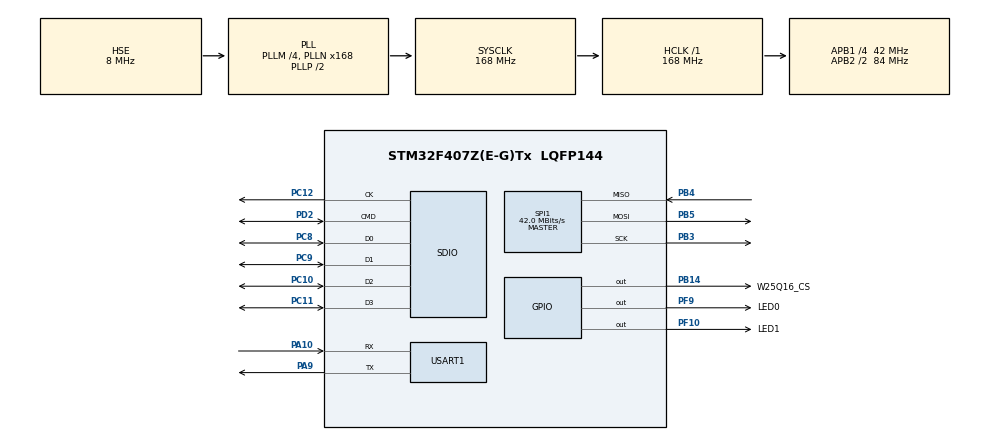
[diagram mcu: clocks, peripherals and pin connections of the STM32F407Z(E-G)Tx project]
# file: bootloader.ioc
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FATFS._CODE_PAGE=850
FATFS._FS_MINIMIZE=0
FATFS._FS_TINY=1
FATFS._MAX_SS=4096
FATFS._MULTI_PARTITION=1
FATFS._USE_FASTSEEK=0
FATFS._USE_LABEL=0
FATFS._USE_LFN=0
FATFS._USE_MKFS=0
FATFS._USE_STRFUNC=0
FATFS._USE_TRIM=0
Mcu.Family=STM32F4
Mcu.Name=STM32F407Z(E-G)Tx
Mcu.Package=LQFP144
NVIC.PriorityGroup=NVIC_PRIORITYGROUP_4
PA10.Mode=Asynchronous
PA10.Signal=USART1_RX
PA9.Mode=Asynchronous
PA9.Signal=USART1_TX
PB14.GPIO_Label=W25Q16_CS
PB14.GPIO_PuPd=GPIO_PULLUP
PB14.GPIO_Speed=GPIO_SPEED_FREQ_VERY_HIGH
PB14.PinState=GPIO_PIN_SET
PB14.Signal=GPIO_Output
PB3.Mode=Full_Duplex_Master
PB3.Signal=SPI1_SCK
PB4.Mode=Full_Duplex_Master
PB4.Signal=SPI1_MISO
PB5.Mode=Full_Duplex_Master
PB5.Signal=SPI1_MOSI
PC10.Mode=SD_4_bits_Wide_bus
PC10.Signal=SDIO_D2
PC11.Mode=SD_4_bits_Wide_bus
PC11.Signal=SDIO_D3
PC12.Mode=SD_4_bits_Wide_bus
PC12.Signal=SDIO_CK
PC8.Mode=SD_4_bits_Wide_bus
PC8.Signal=SDIO_D0
PC9.Mode=SD_4_bits_Wide_bus
PC9.Signal=SDIO_D1
PD2.Mode=SD_4_bits_Wide_bus
PD2.Signal=SDIO_CMD
PF10.GPIO_Label=LED1
PF10.GPIO_PuPd=GPIO_PULLUP
PF10.GPIO_Speed=GPIO_SPEED_FREQ_HIGH
PF10.PinState=GPIO_PIN_SET
PF10.Signal=GPIO_Output
PF9.GPIO_Label=LED0
PF9.GPIO_PuPd=GPIO_PULLUP
PF9.GPIO_Speed=GPIO_SPEED_FREQ_HIGH
PF9.PinState=GPIO_PIN_SET
PF9.Signal=GPIO_Output
PH0-OSC_IN.Mode=HSE-External-Oscillator
PH0-OSC_IN.Signal=RCC_OSC_IN
PH1-OSC_OUT.Mode=HSE-External-Oscillator
PH1-OSC_OUT.Signal=RCC_OSC_OUT
ProjectManager.HeapSize=0x200
ProjectManager.StackSize=0x1000
ProjectManager.TargetToolchain=MDK-ARM V5
RCC.48MHZClocksFreq_Value=48000000
RCC.AHBFreq_Value=168000000
RCC.APB1CLKDivider=RCC_HCLK_DIV4
RCC.APB1Freq_Value=42000000
RCC.APB1TimFreq_Value=84000000
RCC.APB2CLKDivider=RCC_HCLK_DIV2
RCC.APB2Freq_Value=84000000
RCC.APB2TimFreq_Value=168000000
RCC.CortexFreq_Value=168000000
RCC.HCLKFreq_Value=168000000
RCC.HSE_VALUE=8000000
RCC.HSI_VALUE=16000000
RCC.LSE_VALUE=32768
RCC.PLLM=4
RCC.PLLN=168
RCC.PLLQ=7
RCC.PLLSourceVirtual=RCC_PLLSOURCE_HSE
RCC.SYSCLKFreq_VALUE=168000000
RCC.SYSCLKSource=RCC_SYSCLKSOURCE_PLLCLK
RCC.VCOOutputFreq_Value=336000000
SPI1.CLKPhase=SPI_PHASE_2EDGE
SPI1.CLKPolarity=SPI_POLARITY_HIGH
SPI1.CalculateBaudRate=42.0 MBits/s
SPI1.Direction=SPI_DIRECTION_2LINES
SPI1.Mode=SPI_MODE_MASTER
SPI1.VirtualType=VM_MASTER
USART1.VirtualMode=VM_ASYNC
VP_FATFS_VS_Generic.Mode=User_defined
VP_FATFS_VS_SDIO.Mode=SDIO
board=custom

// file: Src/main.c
/**
  ******************************************************************************
  * @file           : main.c
  * @brief          : Main program body
  ******************************************************************************
  * This notice applies to any and all portions of this file
  * that are not between comment pairs USER CODE BEGIN and
  * USER CODE END. Other portions of this file, whether
  * inserted by the user or by software development tools
  * are owned by their respective copyright owners.
  *
  * Copyright (c) 2019 STMicroelectronics International N.V.
  * All rights reserved.
  *
  * Redistribution and use in source and binary forms, with or without
  * modification, are permitted, provided that the following conditions are met:
  *
  * 1. Redistribution of source code must retain the above copyright notice,
  *    this list of conditions and the following disclaimer.
  * 2. Redistributions in binary form must reproduce the above copyright notice,
  *    this list of conditions and the following disclaimer in the documentation
  *    and/or other materials provided with the distribution.
  * 3. Neither the name of STMicroelectronics nor the names of other
  *    contributors to this software may be used to endorse or promote products
  *    derived from this software without specific written permission.
  * 4. This software, including modifications and/or derivative works of this
  *    software, must execute solely and exclusively on microcontroller or
  *    microprocessor devices manufactured by or for STMicroelectronics.
  * 5. Redistribution and use of this software other than as permitted under
  *    this license is void and will automatically terminate your rights under
  *    this license.
  *
  * THIS SOFTWARE IS PROVIDED BY STMICROELECTRONICS AND CONTRIBUTORS "AS IS"
  * AND ANY EXPRESS, IMPLIED OR STATUTORY WARRANTIES, INCLUDING, BUT NOT
  * LIMITED TO, THE IMPLIED WARRANTIES OF MERCHANTABILITY, FITNESS FOR A
  * PARTICULAR PURPOSE AND NON-INFRINGEMENT OF THIRD PARTY INTELLECTUAL PROPERTY
  * RIGHTS ARE DISCLAIMED TO THE FULLEST EXTENT PERMITTED BY LAW. IN NO EVENT
  * SHALL STMICROELECTRONICS OR CONTRIBUTORS BE LIABLE FOR ANY DIRECT, INDIRECT,
  * INCIDENTAL, SPECIAL, EXEMPLARY, OR CONSEQUENTIAL DAMAGES (INCLUDING, BUT NOT
  * LIMITED TO, PROCUREMENT OF SUBSTITUTE GOODS OR SERVICES; LOSS OF USE, DATA,
  * OR PROFITS; OR BUSINESS INTERRUPTION) HOWEVER CAUSED AND ON ANY THEORY OF
  * LIABILITY, WHETHER IN CONTRACT, STRICT LIABILITY, OR TORT (INCLUDING
  * NEGLIGENCE OR OTHERWISE) ARISING IN ANY WAY OUT OF THE USE OF THIS SOFTWARE,
  * EVEN IF ADVISED OF THE POSSIBILITY OF SUCH DAMAGE.
  *
  ******************************************************************************
  */
#include "main.h"
#include "stm32f4xx_hal.h"
#include "fatfs.h"
#include "sdio.h"
#include "spi.h"
#include "usart.h"
#include "gpio.h"

/* USER CODE BEGIN Includes */
#include "bootloader.h"
#include "flash.h"
/* USER CODE END Includes */

/* USER CODE BEGIN PV */
/* Private variables ---------------------------------------------------------*/

/* USER CODE END PV */

void SystemClock_Config(void);

/* USER CODE BEGIN PFP */
/* Private function prototypes -----------------------------------------------*/

/* USER CODE END PFP */

int main(void)
{

  /* MCU Configuration----------------------------------------------------------*/

  /* Reset of all peripherals, Initializes the Flash interface and the Systick. */
  HAL_Init();

  /* Configure the system clock */
  SystemClock_Config();

  /* Initialize all configured peripherals */
  MX_GPIO_Init();
  MX_USART1_UART_Init();
  MX_SDIO_SD_Init();
  MX_FATFS_Init();
  MX_SPI1_Init();
  /* USER CODE BEGIN 2 */
  FIL fil;
  int result;

  f_mount(&USERFatFS, "0:", 1);
  f_mount(&SDFatFS, "1:", 0);

  if(f_open(&fil, "firmware.bin", FA_OPEN_EXISTING|FA_READ) == FR_OK)
  {
    result = firmware_program(&fil, APP_ADDR, APP_SIZE);
    f_close(&fil);
    if(result == 0)                //如果更新成功就删除固件
    {
        f_unlink("firmware.bin");
    }
  }

  for(int i = 0; i < 10; ++i)      //LED闪烁
  {
    HAL_GPIO_TogglePin(LED0_GPIO_Port, LED0_Pin);
    HAL_GPIO_TogglePin(LED1_GPIO_Port, LED1_Pin);
    HAL_Delay(50);
  }

  bootloader_jump_to_app();        //跳到APP程序
  /* USER CODE END 2 */

  /* Infinite loop */
  while (1)
  {

  }

}

void SystemClock_Config(void)
{

  RCC_OscInitTypeDef RCC_OscInitStruct;
  RCC_ClkInitTypeDef RCC_ClkInitStruct;

    /**Configure the main internal regulator output voltage
    */
  __HAL_RCC_PWR_CLK_ENABLE();

  __HAL_PWR_VOLTAGESCALING_CONFIG(PWR_REGULATOR_VOLTAGE_SCALE1);

    /**Initializes the CPU, AHB and APB busses clocks
    */
  RCC_OscInitStruct.OscillatorType = RCC_OSCILLATORTYPE_HSE;
  RCC_OscInitStruct.HSEState = RCC_HSE_ON;
  RCC_OscInitStruct.PLL.PLLState = RCC_PLL_ON;
  RCC_OscInitStruct.PLL.PLLSource = RCC_PLLSOURCE_HSE;
  RCC_OscInitStruct.PLL.PLLM = 4;
  RCC_OscInitStruct.PLL.PLLN = 168;
  RCC_OscInitStruct.PLL.PLLP = RCC_PLLP_DIV2;
  RCC_OscInitStruct.PLL.PLLQ = 7;
  if (HAL_RCC_OscConfig(&RCC_OscInitStruct) != HAL_OK)
  {
    _Error_Handler(__FILE__, __LINE__);
  }

    /**Initializes the CPU, AHB and APB busses clocks
    */
  RCC_ClkInitStruct.ClockType = RCC_CLOCKTYPE_HCLK|RCC_CLOCKTYPE_SYSCLK
                              |RCC_CLOCKTYPE_PCLK1|RCC_CLOCKTYPE_PCLK2;
  RCC_ClkInitStruct.SYSCLKSource = RCC_SYSCLKSOURCE_PLLCLK;
  RCC_ClkInitStruct.AHBCLKDivider = RCC_SYSCLK_DIV1;
  RCC_ClkInitStruct.APB1CLKDivider = RCC_HCLK_DIV4;
  RCC_ClkInitStruct.APB2CLKDivider = RCC_HCLK_DIV2;

  if (HAL_RCC_ClockConfig(&RCC_ClkInitStruct, FLASH_LATENCY_5) != HAL_OK)
  {
    _Error_Handler(__FILE__, __LINE__);
  }

    /**Configure the Systick interrupt time
    */
  HAL_SYSTICK_Config(HAL_RCC_GetHCLKFreq()/1000);

    /**Configure the Systick
    */
  HAL_SYSTICK_CLKSourceConfig(SYSTICK_CLKSOURCE_HCLK);

  /* SysTick_IRQn interrupt configuration */
  HAL_NVIC_SetPriority(SysTick_IRQn, 0, 0);
}

void _Error_Handler(char *file, int line)
{
  while(1)
  {
  }
}

/************************ (C) COPYRIGHT STMicroelectronics *****END OF FILE****/
